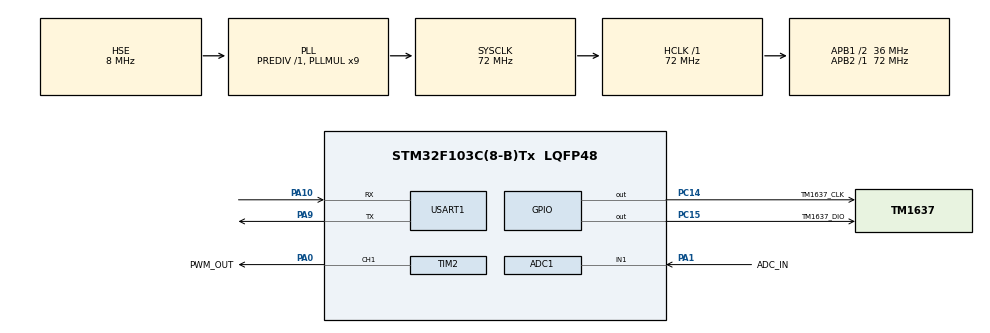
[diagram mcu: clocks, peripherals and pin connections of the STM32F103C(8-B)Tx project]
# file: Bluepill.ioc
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ADC1.Channel-0\#ChannelRegularConversion=ADC_CHANNEL_1
ADC1.ContinuousConvMode=DISABLE
ADC1.EnableInjectedConversion=DISABLE
ADC1.ExternalTrigConv=ADC_EXTERNALTRIGCONV_T3_TRGO
ADC1.NbrOfConversionFlag=1
ADC1.Rank-0\#ChannelRegularConversion=1
ADC1.SamplingTime-0\#ChannelRegularConversion=ADC_SAMPLETIME_239CYCLES_5
ADC1.master=1
Dma.ADC1.0.Direction=DMA_PERIPH_TO_MEMORY
Dma.ADC1.0.Instance=DMA1_Channel1
Dma.ADC1.0.MemDataAlignment=DMA_MDATAALIGN_HALFWORD
Dma.ADC1.0.MemInc=DMA_MINC_ENABLE
Dma.ADC1.0.Mode=DMA_CIRCULAR
Dma.ADC1.0.PeriphDataAlignment=DMA_PDATAALIGN_HALFWORD
Dma.ADC1.0.PeriphInc=DMA_PINC_DISABLE
Dma.ADC1.0.Priority=DMA_PRIORITY_MEDIUM
Dma.Request0=ADC1
Dma.Request1=USART1_RX
Dma.Request2=USART1_TX
Dma.USART1_RX.1.Direction=DMA_PERIPH_TO_MEMORY
Dma.USART1_RX.1.Instance=DMA1_Channel5
Dma.USART1_RX.1.MemDataAlignment=DMA_MDATAALIGN_BYTE
Dma.USART1_RX.1.MemInc=DMA_MINC_ENABLE
Dma.USART1_RX.1.Mode=DMA_CIRCULAR
Dma.USART1_RX.1.PeriphDataAlignment=DMA_PDATAALIGN_BYTE
Dma.USART1_RX.1.PeriphInc=DMA_PINC_DISABLE
Dma.USART1_RX.1.Priority=DMA_PRIORITY_HIGH
Dma.USART1_TX.2.Direction=DMA_MEMORY_TO_PERIPH
Dma.USART1_TX.2.Instance=DMA1_Channel4
Dma.USART1_TX.2.MemDataAlignment=DMA_MDATAALIGN_BYTE
Dma.USART1_TX.2.MemInc=DMA_MINC_ENABLE
Dma.USART1_TX.2.Mode=DMA_NORMAL
Dma.USART1_TX.2.PeriphDataAlignment=DMA_PDATAALIGN_BYTE
Dma.USART1_TX.2.PeriphInc=DMA_PINC_DISABLE
Dma.USART1_TX.2.Priority=DMA_PRIORITY_MEDIUM
FREERTOS.Mutexes01=Sensor_data,Dynamic,NULL,Available
FREERTOS.Queues01=ADC_Queue,10,uint16_t,0,Dynamic,NULL,NULL
FREERTOS.Tasks01=ADC_task,24,192,Start_ADC_task,Default,NULL,Dynamic,NULL,NULL;Calibration_tas,8,320,Start_Calibration_task,Default,NULL,Dynamic,NULL,NULL;Watch_dog_task,8,128,Start_Watch_dog_task,Default,NULL,Dynamic,NULL,NULL;Config_monitor_,8,128,Start_Config_monitor_task,Default,NULL,Dynamic,NULL,NULL;Display_task,8,128,Start_Display_task,Default,NULL,Dynamic,NULL,NULL
FREERTOS.configENABLE_FPU=0
FREERTOS.configTOTAL_HEAP_SIZE=8192
IWDG.Prescaler=IWDG_PRESCALER_256
IWDG.Reload=781
Mcu.Family=STM32F1
Mcu.Name=STM32F103C(8-B)Tx
Mcu.Package=LQFP48
NVIC.DMA1_Channel1_IRQn=true\:5\:0\:false\:false\:true\:true\:false\:true\:true
NVIC.DMA1_Channel4_IRQn=true\:5\:0\:false\:false\:true\:true\:false\:true\:true
NVIC.DMA1_Channel5_IRQn=true\:5\:0\:false\:false\:true\:true\:false\:true\:true
NVIC.PriorityGroup=NVIC_PRIORITYGROUP_4
NVIC.TIM1_UP_IRQn=true\:15\:0\:false\:false\:true\:false\:false\:true\:true
NVIC.TimeBase=TIM1_UP_IRQn
NVIC.TimeBaseIP=TIM1
NVIC.USART1_IRQn=true\:5\:0\:false\:false\:true\:true\:true\:true\:true
PA0-WKUP.GPIO_Label=PWM_OUT
PA0-WKUP.Signal=S_TIM2_CH1_ETR
PA1.GPIO_Label=ADC_IN
PA1.Signal=ADCx_IN1
PA10.Mode=Asynchronous
PA10.Signal=USART1_RX
PA13.Mode=Trace_Asynchronous_SW
PA13.Signal=SYS_JTMS-SWDIO
PA14.Mode=Trace_Asynchronous_SW
PA14.Signal=SYS_JTCK-SWCLK
PA9.Mode=Asynchronous
PA9.Signal=USART1_TX
PB3.Mode=Trace_Asynchronous_SW
PB3.Signal=SYS_JTDO-TRACESWO
PC14-OSC32_IN.GPIO_Label=TM1637_CLK
PC14-OSC32_IN.GPIO_ModeDefaultOutputPP=GPIO_MODE_OUTPUT_OD
PC14-OSC32_IN.GPIO_PuPd=GPIO_PULLUP
PC14-OSC32_IN.GPIO_Speed=GPIO_SPEED_FREQ_HIGH
PC14-OSC32_IN.PinState=GPIO_PIN_SET
PC14-OSC32_IN.Signal=GPIO_Output
PC15-OSC32_OUT.GPIO_Label=TM1637_DIO
PC15-OSC32_OUT.GPIO_ModeDefaultOutputPP=GPIO_MODE_OUTPUT_OD
PC15-OSC32_OUT.GPIO_PuPd=GPIO_PULLUP
PC15-OSC32_OUT.GPIO_Speed=GPIO_SPEED_FREQ_HIGH
PC15-OSC32_OUT.PinState=GPIO_PIN_SET
PC15-OSC32_OUT.Signal=GPIO_Output
PD0-OSC_IN.Mode=HSE-External-Oscillator
PD0-OSC_IN.Signal=RCC_OSC_IN
PD1-OSC_OUT.Mode=HSE-External-Oscillator
PD1-OSC_OUT.Signal=RCC_OSC_OUT
ProjectManager.HeapSize=0x200
ProjectManager.StackSize=0x400
ProjectManager.TargetToolchain=CMake
RCC.ADCPresc=RCC_ADCPCLK2_DIV6
RCC.AHBFreq_Value=72000000
RCC.APB1CLKDivider=RCC_HCLK_DIV2
RCC.APB1Freq_Value=36000000
RCC.APB1TimFreq_Value=72000000
RCC.APB2Freq_Value=72000000
RCC.APB2TimFreq_Value=72000000
RCC.HCLKFreq_Value=72000000
RCC.PLLMUL=RCC_PLL_MUL9
RCC.PLLSourceVirtual=RCC_PLLSOURCE_HSE
RCC.SYSCLKFreq_VALUE=72000000
RCC.SYSCLKSource=RCC_SYSCLKSOURCE_PLLCLK
RCC.USBFreq_Value=72000000
SH.ADCx_IN1.0=ADC1_IN1,IN1
SH.S_TIM2_CH1_ETR.0=TIM2_CH1,PWM Generation1 CH1
TIM2.AutoReloadPreload=TIM_AUTORELOAD_PRELOAD_ENABLE
TIM2.Channel-PWM\ Generation1\ CH1=TIM_CHANNEL_1
TIM2.Period=4095
TIM2.Prescaler=7
TIM3.AutoReloadPreload=TIM_AUTORELOAD_PRELOAD_ENABLE
TIM3.Period=9
TIM3.Prescaler=7199
TIM3.TIM_MasterOutputTrigger=TIM_TRGO_UPDATE
USART1.VirtualMode=VM_ASYNC
VP_FREERTOS_VS_CMSIS_V2.Mode=CMSIS_V2
VP_IWDG_VS_IWDG.Mode=IWDG_Activate
VP_SYS_VS_tim1.Mode=TIM1
VP_TIM2_VS_ClockSourceINT.Mode=Internal
VP_TIM3_VS_ClockSourceINT.Mode=Internal
board=custom

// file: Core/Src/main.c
/* USER CODE BEGIN Header */
/**
  ******************************************************************************
  * @file           : main.c
  * @brief          : Main program body
  ******************************************************************************
  * @attention
  *
  * Copyright (c) 2026 STMicroelectronics.
  * All rights reserved.
  *
  * This software is licensed under terms that can be found in the LICENSE file
  * in the root directory of this software component.
  * If no LICENSE file comes with this software, it is provided AS-IS.
  *
  ******************************************************************************
  */
/* USER CODE END Header */
#include "main.h"
#include "cmsis_os.h"

/* USER CODE BEGIN Includes */
#include "Modbus.h"
#include <string.h>
/* USER CODE END Includes */

/* USER CODE BEGIN PTD */
typedef struct {
    osMutexId_t Sensor_data;             // Handle for the unique mutex lock
    volatile uint16_t Sensor_value;       // Processed Sensor value
} SensorData_t;
/* USER CODE END PTD */

ADC_HandleTypeDef hadc1;
DMA_HandleTypeDef hdma_adc1;

IWDG_HandleTypeDef hiwdg;

TIM_HandleTypeDef htim2;
TIM_HandleTypeDef htim3;

UART_HandleTypeDef huart1;
DMA_HandleTypeDef hdma_usart1_rx;
DMA_HandleTypeDef hdma_usart1_tx;

/* Definitions for ADC_task */
osThreadId_t ADC_taskHandle;
const osThreadAttr_t ADC_task_attributes = {
  .name = "ADC_task",
  .stack_size = 192 * 4,
  .priority = (osPriority_t) osPriorityNormal,
};
/* Definitions for Calibration_tas */
osThreadId_t Calibration_tasHandle;
const osThreadAttr_t Calibration_tas_attributes = {
  .name = "Calibration_tas",
  .stack_size = 320 * 4,
  .priority = (osPriority_t) osPriorityLow,
};
/* Definitions for Watch_dog_task */
osThreadId_t Watch_dog_taskHandle;
const osThreadAttr_t Watch_dog_task_attributes = {
  .name = "Watch_dog_task",
  .stack_size = 128 * 4,
  .priority = (osPriority_t) osPriorityLow,
};
/* Definitions for Config_monitor_ */
osThreadId_t Config_monitor_Handle;
const osThreadAttr_t Config_monitor__attributes = {
  .name = "Config_monitor_",
  .stack_size = 128 * 4,
  .priority = (osPriority_t) osPriorityLow,
};
/* Definitions for Display_task */
osThreadId_t Display_taskHandle;
const osThreadAttr_t Display_task_attributes = {
  .name = "Display_task",
  .stack_size = 128 * 4,
  .priority = (osPriority_t) osPriorityLow,
};
/* Definitions for ADC_Queue */
osMessageQueueId_t ADC_QueueHandle;
const osMessageQueueAttr_t ADC_Queue_attributes = {
  .name = "ADC_Queue"
};
/* Definitions for Sensor_data */
osMutexId_t Sensor_dataHandle;
const osMutexAttr_t Sensor_data_attributes = {
  .name = "Sensor_data"
};
/* USER CODE BEGIN PV */
#define FLASH_MAGIC_KEY   0x5A42
#define HOLDING_REG_COUNT 4
#define INPUT_REG_COUNT   3

typedef struct {
    uint16_t magic;
    uint8_t slave_id;
    uint32_t baud_rate;
    uint32_t parity;
    uint32_t stop_bits;
} DeviceConfig_t;

/* Ensure the linker script isolates this section to a specific page boundary */
__attribute__((section(".data_flash"), aligned(2048))) DeviceConfig_t Flash_Stored_Config;

/* Modbus Infrastructure */
modbusHandler_t ModbusH;
DeviceConfig_t live_cfg;

/* Separate structures matching clean industrial definitions */
uint16_t HoldingDATA[HOLDING_REG_COUNT]; // RW Configs: Status, Cal, Modbus Addr
uint16_t InputDATA[INPUT_REG_COUNT];     // RO Variables: PPM, RAW ADC

// Holding Register Offsets (FC03 / FC06)
#define REG_STATUS       0 // Address 40001
#define REG_CAL_CMD      1 // Address 40002
#define REG_MB_ADDR      2 // Address 40003

// Input Register Offsets (FC04)
#define REG_PPM_X10      0 // Address 30001
#define REG_ADC_RAW      1 // Address 30002

#define ADC_BLOCK_LEN  50
#define ADC_BUF_LEN    (ADC_BLOCK_LEN * 2) // 100 elements
volatile uint16_t adc_raw_buffer[ADC_BUF_LEN];
/* USER CODE END PV */

void SystemClock_Config(void);
static void MX_GPIO_Init(void);
static void MX_DMA_Init(void);
static void MX_ADC1_Init(void);
static void MX_TIM2_Init(void);
static void MX_USART1_UART_Init(void);
static void MX_IWDG_Init(void);
static void MX_TIM3_Init(void);
void Start_ADC_task(void *argument);
void Start_Calibration_task(void *argument);
void Start_Watch_dog_task(void *argument);
void Start_Config_monitor_task(void *argument);
void Start_Display_task(void *argument);

/* USER CODE BEGIN PFP */
void Read_Device_Configuration(void);
uint16_t Read_Physical_DIP_Switches(void);
void Program_Flash_Config(uint8_t id, uint32_t baud, uint32_t parity);

/* USER CODE END PFP */

int main(void)
{

  /* MCU Configuration--------------------------------------------------------*/

  /* Reset of all peripherals, Initializes the Flash interface and the Systick. */
  HAL_Init();

  /* Configure the system clock */
  SystemClock_Config();

  /* Initialize all configured peripherals */
  MX_GPIO_Init();
  MX_DMA_Init();
  MX_ADC1_Init();
  MX_TIM2_Init();
  MX_USART1_UART_Init();
  MX_IWDG_Init();
  MX_TIM3_Init();
  /* USER CODE BEGIN 2 */
// FIX: Read configuration matrix BEFORE re-initializing the UART peripheral frame
  Read_Device_Configuration();

  /* Re-initialize USART1 with dynamic parameters */
  huart1.Instance        = USART1;
  huart1.Init.BaudRate   = live_cfg.baud_rate;
  huart1.Init.Parity     = live_cfg.parity;
  huart1.Init.WordLength = (live_cfg.parity == UART_PARITY_NONE) ? UART_WORDLENGTH_8B : UART_WORDLENGTH_9B;
  huart1.Init.StopBits   = live_cfg.stop_bits;
  huart1.Init.Mode       = UART_MODE_TX_RX;
  huart1.Init.HwFlowCtl  = UART_HWCONTROL_NONE;
  huart1.Init.OverSampling = UART_OVERSAMPLING_16;

  if (HAL_UART_Init(&huart1) != HAL_OK)
  {
    Error_Handler();
  }

/* Bind and allocate Modbus Slave Engine with distinct spaces */
  ModbusH.uModbusType            = MB_SLAVE;
  ModbusH.port                   = &huart1;
  ModbusH.u8id                   = live_cfg.slave_id;
  ModbusH.u16timeOut             = 1000;
  ModbusH.xTypeHW                = USART_HW_DMA;

  // RS485 Toggling
  ModbusH.EN_Port                = GPIOA;
  ModbusH.EN_Pin                 = GPIO_PIN_8;

  ModbusH.u16regs                = NULL; // Unused when separate areas are active
  ModbusH.u16regsize             = 0;

  // Link Read-Write Holding Region (Addresses starting at 0)
  ModbusH.u16holdingRegs         = HoldingDATA;
  ModbusH.u16holdingRegsStartAdd = 0;
  ModbusH.u16holdingRegsNregs    = HOLDING_REG_COUNT;

  // Link Read-Only Input Region (Addresses starting at 0)
  ModbusH.u16inputRegs           = InputDATA;
  ModbusH.u16inputRegsStartAdd   = 0;
  ModbusH.u16inputRegsNregs      = INPUT_REG_COUNT;

  ModbusInit(&ModbusH);
  ModbusStart(&ModbusH);
  /* USER CODE END 2 */

  /* Init scheduler */
  osKernelInitialize();
  /* Create the mutex(es) */
  /* creation of Sensor_data */
  Sensor_dataHandle = osMutexNew(&Sensor_data_attributes);

  /* Create the queue(s) */
  /* creation of ADC_Queue */
  ADC_QueueHandle = osMessageQueueNew (10, sizeof(uint16_t), &ADC_Queue_attributes);

  /* Create the thread(s) */
  /* creation of ADC_task */
  ADC_taskHandle = osThreadNew(Start_ADC_task, NULL, &ADC_task_attributes);

  /* creation of Calibration_tas */
  Calibration_tasHandle = osThreadNew(Start_Calibration_task, NULL, &Calibration_tas_attributes);

  /* creation of Watch_dog_task */
  Watch_dog_taskHandle = osThreadNew(Start_Watch_dog_task, NULL, &Watch_dog_task_attributes);

  /* creation of Config_monitor_ */
  Config_monitor_Handle = osThreadNew(Start_Config_monitor_task, NULL, &Config_monitor__attributes);

  /* creation of Display_task */
  Display_taskHandle = osThreadNew(Start_Display_task, NULL, &Display_task_attributes);

  /* Start scheduler */
  osKernelStart();

  /* We should never get here as control is now taken by the scheduler */

  /* Infinite loop */
  while (1)
  {

  }
}

void SystemClock_Config(void)
{
  RCC_OscInitTypeDef RCC_OscInitStruct = {0};
  RCC_ClkInitTypeDef RCC_ClkInitStruct = {0};
  RCC_PeriphCLKInitTypeDef PeriphClkInit = {0};

  /** Initializes the RCC Oscillators according to the specified parameters
  * in the RCC_OscInitTypeDef structure.
  */
  RCC_OscInitStruct.OscillatorType = RCC_OSCILLATORTYPE_LSI|RCC_OSCILLATORTYPE_HSE;
  RCC_OscInitStruct.HSEState = RCC_HSE_ON;
  RCC_OscInitStruct.HSEPredivValue = RCC_HSE_PREDIV_DIV1;
  RCC_OscInitStruct.HSIState = RCC_HSI_ON;
  RCC_OscInitStruct.LSIState = RCC_LSI_ON;
  RCC_OscInitStruct.PLL.PLLState = RCC_PLL_ON;
  RCC_OscInitStruct.PLL.PLLSource = RCC_PLLSOURCE_HSE;
  RCC_OscInitStruct.PLL.PLLMUL = RCC_PLL_MUL9;
  if (HAL_RCC_OscConfig(&RCC_OscInitStruct) != HAL_OK)
  {
    Error_Handler();
  }

  /** Initializes the CPU, AHB and APB buses clocks
  */
  RCC_ClkInitStruct.ClockType = RCC_CLOCKTYPE_HCLK|RCC_CLOCKTYPE_SYSCLK
                              |RCC_CLOCKTYPE_PCLK1|RCC_CLOCKTYPE_PCLK2;
  RCC_ClkInitStruct.SYSCLKSource = RCC_SYSCLKSOURCE_PLLCLK;
  RCC_ClkInitStruct.AHBCLKDivider = RCC_SYSCLK_DIV1;
  RCC_ClkInitStruct.APB1CLKDivider = RCC_HCLK_DIV2;
  RCC_ClkInitStruct.APB2CLKDivider = RCC_HCLK_DIV1;

  if (HAL_RCC_ClockConfig(&RCC_ClkInitStruct, FLASH_LATENCY_2) != HAL_OK)
  {
    Error_Handler();
  }
  PeriphClkInit.PeriphClockSelection = RCC_PERIPHCLK_ADC;
  PeriphClkInit.AdcClockSelection = RCC_ADCPCLK2_DIV6;
  if (HAL_RCCEx_PeriphCLKConfig(&PeriphClkInit) != HAL_OK)
  {
    Error_Handler();
  }
}

static void MX_ADC1_Init(void)
{

  ADC_ChannelConfTypeDef sConfig = {0};

  /** Common config
  */
  hadc1.Instance = ADC1;
  hadc1.Init.ScanConvMode = ADC_SCAN_DISABLE;
  hadc1.Init.ContinuousConvMode = DISABLE;
  hadc1.Init.DiscontinuousConvMode = DISABLE;
  hadc1.Init.ExternalTrigConv = ADC_EXTERNALTRIGCONV_T3_TRGO;
  hadc1.Init.DataAlign = ADC_DATAALIGN_RIGHT;
  hadc1.Init.NbrOfConversion = 1;
  if (HAL_ADC_Init(&hadc1) != HAL_OK)
  {
    Error_Handler();
  }

  /** Configure Regular Channel
  */
  sConfig.Channel = ADC_CHANNEL_1;
  sConfig.Rank = ADC_REGULAR_RANK_1;
  sConfig.SamplingTime = ADC_SAMPLETIME_239CYCLES_5;
  if (HAL_ADC_ConfigChannel(&hadc1, &sConfig) != HAL_OK)
  {
    Error_Handler();
  }

}

static void MX_IWDG_Init(void)
{

  hiwdg.Instance = IWDG;
  hiwdg.Init.Prescaler = IWDG_PRESCALER_256;
  hiwdg.Init.Reload = 781;
  if (HAL_IWDG_Init(&hiwdg) != HAL_OK)
  {
    Error_Handler();
  }

}

static void MX_TIM2_Init(void)
{

  TIM_ClockConfigTypeDef sClockSourceConfig = {0};
  TIM_MasterConfigTypeDef sMasterConfig = {0};
  TIM_OC_InitTypeDef sConfigOC = {0};

  htim2.Instance = TIM2;
  htim2.Init.Prescaler = 7;
  htim2.Init.CounterMode = TIM_COUNTERMODE_UP;
  htim2.Init.Period = 4095;
  htim2.Init.ClockDivision = TIM_CLOCKDIVISION_DIV1;
  htim2.Init.AutoReloadPreload = TIM_AUTORELOAD_PRELOAD_ENABLE;
  if (HAL_TIM_Base_Init(&htim2) != HAL_OK)
  {
    Error_Handler();
  }
  sClockSourceConfig.ClockSource = TIM_CLOCKSOURCE_INTERNAL;
  if (HAL_TIM_ConfigClockSource(&htim2, &sClockSourceConfig) != HAL_OK)
  {
    Error_Handler();
  }
  if (HAL_TIM_PWM_Init(&htim2) != HAL_OK)
  {
    Error_Handler();
  }
  sMasterConfig.MasterOutputTrigger = TIM_TRGO_RESET;
  sMasterConfig.MasterSlaveMode = TIM_MASTERSLAVEMODE_DISABLE;
  if (HAL_TIMEx_MasterConfigSynchronization(&htim2, &sMasterConfig) != HAL_OK)
  {
    Error_Handler();
  }
  sConfigOC.OCMode = TIM_OCMODE_PWM1;
  sConfigOC.Pulse = 0;
  sConfigOC.OCPolarity = TIM_OCPOLARITY_HIGH;
  sConfigOC.OCFastMode = TIM_OCFAST_DISABLE;
  if (HAL_TIM_PWM_ConfigChannel(&htim2, &sConfigOC, TIM_CHANNEL_1) != HAL_OK)
  {
    Error_Handler();
  }
  HAL_TIM_MspPostInit(&htim2);

}

static void MX_TIM3_Init(void)
{

  TIM_ClockConfigTypeDef sClockSourceConfig = {0};
  TIM_MasterConfigTypeDef sMasterConfig = {0};

  htim3.Instance = TIM3;
  htim3.Init.Prescaler = 7199;
  htim3.Init.CounterMode = TIM_COUNTERMODE_UP;
  htim3.Init.Period = 9;
  htim3.Init.ClockDivision = TIM_CLOCKDIVISION_DIV1;
  htim3.Init.AutoReloadPreload = TIM_AUTORELOAD_PRELOAD_ENABLE;
  if (HAL_TIM_Base_Init(&htim3) != HAL_OK)
  {
    Error_Handler();
  }
  sClockSourceConfig.ClockSource = TIM_CLOCKSOURCE_INTERNAL;
  if (HAL_TIM_ConfigClockSource(&htim3, &sClockSourceConfig) != HAL_OK)
  {
    Error_Handler();
  }
  sMasterConfig.MasterOutputTrigger = TIM_TRGO_UPDATE;
  sMasterConfig.MasterSlaveMode = TIM_MASTERSLAVEMODE_DISABLE;
  if (HAL_TIMEx_MasterConfigSynchronization(&htim3, &sMasterConfig) != HAL_OK)
  {
    Error_Handler();
  }

}

static void MX_USART1_UART_Init(void)
{

  huart1.Instance = USART1;
  huart1.Init.BaudRate = 115200;
  huart1.Init.WordLength = UART_WORDLENGTH_8B;
  huart1.Init.StopBits = UART_STOPBITS_1;
  huart1.Init.Parity = UART_PARITY_NONE;
  huart1.Init.Mode = UART_MODE_TX_RX;
  huart1.Init.HwFlowCtl = UART_HWCONTROL_NONE;
  huart1.Init.OverSampling = UART_OVERSAMPLING_16;
  if (HAL_UART_Init(&huart1) != HAL_OK)
  {
    Error_Handler();
  }

}

static void MX_DMA_Init(void)
{

  /* DMA controller clock enable */
  __HAL_RCC_DMA1_CLK_ENABLE();

  /* DMA interrupt init */
  /* DMA1_Channel1_IRQn interrupt configuration */
  HAL_NVIC_SetPriority(DMA1_Channel1_IRQn, 5, 0);
  HAL_NVIC_EnableIRQ(DMA1_Channel1_IRQn);
  /* DMA1_Channel4_IRQn interrupt configuration */
  HAL_NVIC_SetPriority(DMA1_Channel4_IRQn, 5, 0);
  HAL_NVIC_EnableIRQ(DMA1_Channel4_IRQn);
  /* DMA1_Channel5_IRQn interrupt configuration */
  HAL_NVIC_SetPriority(DMA1_Channel5_IRQn, 5, 0);
  HAL_NVIC_EnableIRQ(DMA1_Channel5_IRQn);

}

static void MX_GPIO_Init(void)
{
  GPIO_InitTypeDef GPIO_InitStruct = {0};

  /* GPIO Ports Clock Enable */
  __HAL_RCC_GPIOC_CLK_ENABLE();
  __HAL_RCC_GPIOD_CLK_ENABLE();
  __HAL_RCC_GPIOA_CLK_ENABLE();
  __HAL_RCC_GPIOB_CLK_ENABLE();

  /*Configure GPIO pin Output Level */
  HAL_GPIO_WritePin(GPIOC, TM1637_CLK_Pin|TM1637_DIO_Pin, GPIO_PIN_SET);

  /*Configure GPIO pins : TM1637_CLK_Pin TM1637_DIO_Pin */
  GPIO_InitStruct.Pin = TM1637_CLK_Pin|TM1637_DIO_Pin;
  GPIO_InitStruct.Mode = GPIO_MODE_OUTPUT_OD;
  GPIO_InitStruct.Pull = GPIO_PULLUP;
  GPIO_InitStruct.Speed = GPIO_SPEED_FREQ_HIGH;
  HAL_GPIO_Init(GPIOC, &GPIO_InitStruct);

}

/* USER CODE BEGIN 4 */
void Read_Device_Configuration(void)
{
    // Check Pin PA0 (DIP Switch 1 - Configuration Mode)
    if (HAL_GPIO_ReadPin(GPIOA, GPIO_PIN_0) == GPIO_PIN_SET)
    {
        /* ─── SOFTWARE MODE (Read Flash) ─── */
        if (Flash_Stored_Config.magic == FLASH_MAGIC_KEY)
        {
            live_cfg.slave_id  = Flash_Stored_Config.slave_id;
            live_cfg.baud_rate = Flash_Stored_Config.baud_rate;
            live_cfg.parity    = Flash_Stored_Config.parity;
            live_cfg.stop_bits = Flash_Stored_Config.stop_bits;
        }
        else
        {
            /* Fallback Safe Defaults */
            live_cfg.slave_id  = 1;
            live_cfg.baud_rate = 9600;
            live_cfg.parity    = UART_PARITY_NONE;
            live_cfg.stop_bits = UART_STOPBITS_2;
        }
    }
    else
    {
        /* ─── HARDWARE MODE (Read 16-Bit Switch Matrix) ─── */
        uint16_t dip_switches = Read_Physical_DIP_Switches();
        live_cfg.slave_id = ((dip_switches >> 1) & 0xFF) + 1;

        uint8_t baud_selection = (dip_switches >> 9) & 0x07;
        switch (baud_selection) {
            case 0x01: live_cfg.baud_rate = 14400;  break;
            case 0x02: live_cfg.baud_rate = 19200;  break;
            case 0x03: live_cfg.baud_rate = 38400;  break;
            case 0x04: live_cfg.baud_rate = 57600;  break;
            case 0x05: live_cfg.baud_rate = 115200; break;
            default:   live_cfg.baud_rate = 9600;   break;
        }

        uint8_t parity_selection = (dip_switches >> 12) & 0x03;
        if (parity_selection == 0x01) {
            live_cfg.parity = UART_PARITY_EVEN;
            live_cfg.stop_bits = UART_STOPBITS_1;
        } else if (parity_selection == 0x02) {
            live_cfg.parity = UART_PARITY_ODD;
            live_cfg.stop_bits = UART_STOPBITS_1;
        } else {
            live_cfg.parity = UART_PARITY_NONE;
            live_cfg.stop_bits = (HAL_GPIO_ReadPin(GPIOB, GPIO_PIN_1) == GPIO_PIN_RESET) ?
                                 UART_STOPBITS_1 : UART_STOPBITS_2;
        }
    }
}

uint16_t Read_Physical_DIP_Switches(void)
{
    // Realize your shift registers or GPIO read configurations here.
    // Returning a dummy layout matching your mask definitions for testing:
    return 0x0000;
}

void Program_Flash_Config(uint8_t id, uint32_t baud, uint32_t parity)
{
    DeviceConfig_t working_packet;
    working_packet.magic     = FLASH_MAGIC_KEY;
    working_packet.slave_id  = id;
    working_packet.baud_rate = baud;
    working_packet.parity    = parity;

    if (parity == UART_PARITY_NONE) {
        working_packet.stop_bits = (live_cfg.stop_bits == UART_STOPBITS_1) ? UART_STOPBITS_1 : UART_STOPBITS_2;
    } else {
        working_packet.stop_bits = UART_STOPBITS_1;
    }

    // 1. Stop active UART DMA communication pipelines before tearing down peripherals
    HAL_UART_DMAStop(&huart1);

    // 2. Lock Modbus semaphore to safely modify shared registers and hardware frames
    if (osSemaphoreAcquire(ModbusH.ModBusSphrHandle, osWaitForever) == osOK)
    {
        /* Update runtime configuration context */
        live_cfg.slave_id  = working_packet.slave_id;
        live_cfg.baud_rate = working_packet.baud_rate;
        live_cfg.parity    = working_packet.parity;
        live_cfg.stop_bits = working_packet.stop_bits;

        /* Re‑initialize the UART peripheral with new dynamic parameters */
        huart1.Init.BaudRate   = live_cfg.baud_rate;
        huart1.Init.Parity     = live_cfg.parity;
        huart1.Init.WordLength = (live_cfg.parity == UART_PARITY_NONE) ? UART_WORDLENGTH_8B : UART_WORDLENGTH_9B;
        huart1.Init.StopBits   = live_cfg.stop_bits;

        if (HAL_UART_Init(&huart1) != HAL_OK)
        {
            Error_Handler();
        }

        /* Restart DMA receive engine with idle‑line detection (as used by ModbusStart) */
        // MAX_BUFFER matches the library's buffer boundary configuration
        if (HAL_UARTEx_ReceiveToIdle_DMA(&huart1, ModbusH.xBufferRX.uxBuffer, MAX_BUFFER) != HAL_OK)
        {
            Error_Handler();
        }
        __HAL_DMA_DISABLE_IT(huart1.hdmarx, DMA_IT_HT); // Disable half‑transfer interrupt to prevent unexpected splits

        /* Update Modbus engine identification properties */
        ModbusH.u8id = live_cfg.slave_id;

        /* Reset the ring buffer state and internal metrics counters */
        RingClear(&ModbusH.xBufferRX);
        ModbusH.u8lastRec    = 0;
        ModbusH.u8BufferSize = 0;
        ModbusH.u16InCnt     = 0;
        ModbusH.u16OutCnt    = 0;
        ModbusH.u16errCnt    = 0;

        // Release semaphore resource
        osSemaphoreRelease(ModbusH.ModBusSphrHandle);
    }

    // 3. Write the new configuration structure into Non-Volatile Flash memory
    // CRITICAL: Do NOT disable global interrupts here or use osKernelLock().
    // Flash programming takes up to 40ms; halting interrupts triggers an IWDG Watchdog reset.
    HAL_FLASH_Unlock();
    __HAL_FLASH_CLEAR_FLAG(FLASH_FLAG_EOP | FLASH_FLAG_PGERR | FLASH_FLAG_WRPERR);

    FLASH_EraseInitTypeDef erase_init;
    erase_init.TypeErase   = FLASH_TYPEERASE_PAGES;
    erase_init.PageAddress = (uint32_t)&Flash_Stored_Config;
    erase_init.NbPages     = 1;

    uint32_t page_error = 0;
    if (HAL_FLASHEx_Erase(&erase_init, &page_error) == HAL_OK)
    {
        uint32_t *source_ptr  = (uint32_t*)&working_packet;
        uint32_t *dest_ptr    = (uint32_t*)&Flash_Stored_Config;
        size_t words_to_write = sizeof(DeviceConfig_t) / 4;

        for (size_t i = 0; i < words_to_write; i++)
        {
            HAL_FLASH_Program(FLASH_TYPEPROGRAM_WORD, (uint32_t)(dest_ptr + i), *(source_ptr + i));
        }
    }
    HAL_FLASH_Lock();
}
void HAL_ADC_ConvHalfCpltCallback(ADC_HandleTypeDef* hadc)
{
  if(hadc->Instance == ADC1)
  {
    osThreadFlagsSet(ADC_taskHandle, 0x01);
  }
}

void HAL_ADC_ConvCpltCallback(ADC_HandleTypeDef* hadc)
{
  if(hadc->Instance == ADC1)
  {
    osThreadFlagsSet(ADC_taskHandle, 0x02);
  }
}

/* USER CODE END 4 */

void Start_ADC_task(void *argument)
{
  /* USER CODE BEGIN 5 */

  // Start continuous ADC acquisition via hardware timer triggers
  HAL_ADC_Start_DMA(&hadc1, (uint32_t *)(uintptr_t)adc_raw_buffer, ADC_BUF_LEN);
  HAL_TIM_Base_Start(&htim3);
  uint32_t flags;
  /* Infinite loop */
  for(;;)
  {
  flags = osThreadFlagsWait(0x01 | 0x02, osFlagsWaitAny, osWaitForever);

	  // 2. Determine which offset to read based on the flag set in the ISR
	  uint32_t buffer_offset = 0;
  if (flags & 0x02)
    {
      buffer_offset = ADC_BLOCK_LEN; // Point to index 64 (Second Half)
    }
    else if (flags & 0x01)
    {
      buffer_offset = 0;              // Point to index 0 (First Half)
    }

	  // 3. Compute the average safely from the stable half
	  uint32_t sum = 0;
	  for(int i = 0; i < ADC_BLOCK_LEN; i++)
	  {
		sum += adc_raw_buffer[buffer_offset + i];
	  }

	  uint16_t ADC_average = sum / ADC_BLOCK_LEN;

  osStatus_t queue_status = osMessageQueuePut(ADC_QueueHandle, &ADC_average, 0, 0);
    if (queue_status != osOK)
    {
        /* FIX: Protect shared register from Modbus data races */
        if (osMutexAcquire(Sensor_dataHandle, osWaitForever) == osOK)
        {
            HoldingDATA[REG_STATUS] |= (1 << 4); // Set overflow flag safely
            osMutexRelease(Sensor_dataHandle);
        }
    }
    }
  /* USER CODE END 5 */
}

void Start_Calibration_task(void *argument)
{
  /* USER CODE BEGIN Start_Calibration_task */
  uint16_t received_ADC_average;
  osStatus_t queue_status;
  /* Infinite loop */
for (;;)
{
  queue_status = osMessageQueueGet(ADC_QueueHandle, & received_ADC_average, NULL, osWaitForever);
  if (queue_status == osOK)
  {
    float ppm = (float) received_ADC_average * 0.75f;
    // FIX: Secure the actual binary semaphore used by the background Modbus engine thread
    if (osSemaphoreAcquire(ModbusH.ModBusSphrHandle, osWaitForever) == osOK)
    {
      InputDATA[REG_ADC_RAW] = received_ADC_average;
      InputDATA[REG_PPM_X10] = (uint16_t)(ppm * 10.0f);
      HoldingDATA[REG_STATUS] = 0x01;
      osSemaphoreRelease(ModbusH.ModBusSphrHandle);
    }
   }
  }
  /* USER CODE END Start_Calibration_task */
}

void Start_Watch_dog_task(void *argument)
{
  /* USER CODE BEGIN Start_Watch_dog_task */
  /* Infinite loop */
  for(;;)
  {
    osDelay(1000);                 // wait 1 second
    HAL_IWDG_Refresh(&hiwdg);      // reset the watchdog counter
  }
  /* USER CODE END Start_Watch_dog_task */
}

void Start_Config_monitor_task(void *argument)
{
  for(;;)
  {
    osDelay(1);
  }
}

void Start_Display_task(void *argument)
{
  for(;;)
  {
    osDelay(1);
  }
}

void HAL_TIM_PeriodElapsedCallback(TIM_HandleTypeDef *htim)
{
  if (htim->Instance == TIM1)
  {
    HAL_IncTick();
  }
}

void Error_Handler(void)
{
  __disable_irq();
  while (1)
  {
  }
}
